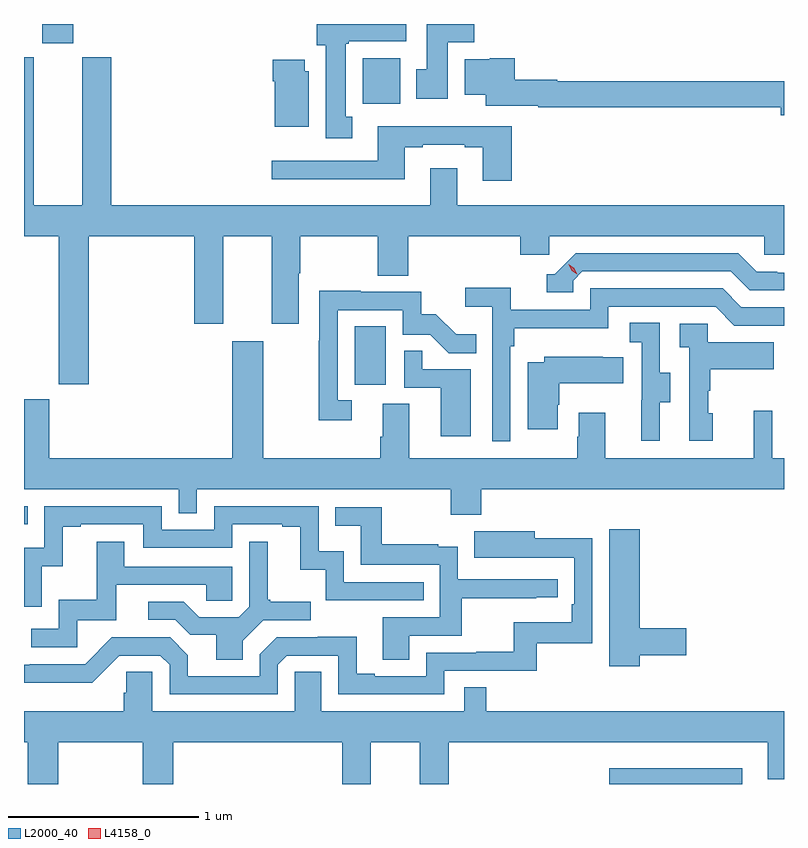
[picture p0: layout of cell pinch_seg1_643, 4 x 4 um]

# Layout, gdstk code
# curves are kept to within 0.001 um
import gdstk
lib = gdstk.Library(unit=1e-6, precision=1e-09)
def R(c, l, rs):  # rectangles x0, y0, x1, y1
    for r in rs: c.add(gdstk.rectangle(r[:2], r[2:], *l))
def P(c, l, *ps):  # polygons
    for p in ps: c.add(gdstk.Polygon(p, *l))
L2000_40 = (2000, 40)
L4158_0 = (4158, 0)

pinch_seg1_643 = lib.new_cell('pinch_seg1_643')
R(pinch_seg1_643, L2000_40, [(1083.519,514.217,1084.219,514.3), (1080.44,515.583,1080.461,515.679), (1082.18,516.318,1082.344,516.625), (1082.222,517.796,1082.419,518.038), (1080.536,518.115,1080.7,518.217)])
P(pinch_seg1_643, L2000_40, [(1082.671,518.12),(1082.81,518.12),(1082.81,518.217),(1082.561,518.217),(1082.561,517.98),(1082.504,517.98),(1082.504,517.824),(1082.671,517.824)],
  [(1082.167,517.73),(1082.134,517.73),(1082.134,518.113),(1082.148,518.113),(1082.148,518.126),(1082.452,518.126),(1082.452,518.217),(1081.982,518.217),(1081.982,518.106),(1082.027,518.106),(1082.027,517.617),(1082.167,517.617)],
  [(1080.782,517.1),(1081.337,517.1),(1081.337,516.639),(1081.489,516.639),(1081.489,517.1),(1081.745,517.1),(1081.745,516.639),(1081.885,516.639),(1081.885,516.904),(1081.893,516.904),(1081.893,517.1),(1082.302,517.1),(1082.302,516.892),(1082.462,516.892),(1082.462,517.1),(1083.053,517.1),(1083.053,517.002),(1083.204,517.002),(1083.204,517.1),(1084.335,517.1),(1084.335,517.002),(1084.44,517.002),(1084.44,517.264),(1082.719,517.264),(1082.719,517.459),(1082.579,517.459),(1082.579,517.264),(1080.899,517.264),(1080.899,518.043),(1080.746,518.043),(1080.746,517.264),(1080.49,517.264),(1080.49,518.043),(1080.44,518.043),(1080.44,517.1),(1080.622,517.1),(1080.622,516.321),(1080.782,516.321)],
  [(1084.44,517.916),(1083.246,517.916),(1083.246,517.924),(1083.023,517.924),(1083.023,518.038),(1082.892,518.038),(1082.892,518.032),(1082.759,518.032),(1082.759,517.844),(1082.87,517.844),(1082.87,517.787),(1083.146,517.787),(1083.146,517.78),(1084.424,517.78),(1084.424,517.738),(1084.44,517.738)],
  [(1081.939,517.968),(1081.918,517.968),(1081.918,518.029),(1081.748,518.029),(1081.748,517.916),(1081.76,517.916),(1081.76,517.676),(1081.939,517.676)],
  [(1083.008,517.678),(1082.303,517.678),(1082.303,517.497),(1081.743,517.497),(1081.743,517.4),(1082.443,517.4),(1082.443,517.569),(1082.539,517.569),(1082.539,517.581),(1082.759,517.581),(1082.759,517.569),(1082.855,517.569),(1082.855,517.392),(1083.008,517.392)],
  [(1083.33,516.867),(1083.378,516.915),(1084.161,516.915),(1084.26,516.816),(1084.44,516.816),(1084.44,516.909),(1084.404,516.909),(1084.404,516.912),(1084.297,516.912),(1084.198,517.011),(1083.345,517.011),(1083.234,516.9),(1083.191,516.9),(1083.191,516.804),(1083.33,516.804)],
  [(1083,516.521),(1083.02,516.521),(1083.02,516.617),(1083.516,516.617),(1083.516,516.729),(1084.08,516.729),(1084.179,516.63),(1084.44,516.63),(1084.44,516.726),(1084.216,516.726),(1084.117,516.825),(1083.42,516.825),(1083.42,516.714),(1083.002,516.714),(1083.002,516.83),(1082.763,516.83),(1082.763,516.728),(1082.904,516.728),(1082.904,516.02),(1083,516.02)],
  [(1082.164,516.237),(1082.091,516.237),(1082.091,516.711),(1082.433,516.711),(1082.433,516.582),(1082.577,516.582),(1082.675,516.484),(1082.819,516.484),(1082.819,516.583),(1082.715,516.583),(1082.608,516.69),(1082.532,516.69),(1082.532,516.807),(1082.213,516.807),(1082.213,516.812),(1081.995,516.812),(1081.995,516.551),(1081.99,516.551),(1081.99,516.132),(1082.164,516.132)],
  [(1083.787,516.226),(1083.841,516.226),(1083.841,516.381),(1083.786,516.381),(1083.786,516.644),(1083.627,516.644),(1083.627,516.541),(1083.69,516.541),(1083.69,516.237),(1083.689,516.237),(1083.689,516.024),(1083.787,516.024)],
  [(1084.066,516.168),(1084.041,516.168),(1084.041,516.287),(1084.051,516.287),(1084.051,516.401),(1084.385,516.401),(1084.385,516.541),(1084.038,516.541),(1084.038,516.639),(1083.891,516.639),(1083.891,516.515),(1083.942,516.515),(1083.942,516.024),(1084.066,516.024)],
  [(1082.846,515.768),(1084.44,515.768),(1084.44,515.932),(1084.377,515.932),(1084.377,516.181),(1084.28,516.181),(1084.28,515.932),(1083.499,515.932),(1083.499,516.172),(1083.359,516.172),(1083.359,516.044),(1083.352,516.044),(1083.352,515.932),(1082.467,515.932),(1082.467,516.218),(1082.327,516.218),(1082.327,516.044),(1082.315,516.044),(1082.315,515.932),(1081.699,515.932),(1081.699,516.547),(1081.535,516.547),(1081.535,515.932),(1080.574,515.932),(1080.574,516.241),(1080.44,516.241),(1080.44,515.768),(1081.254,515.768),(1081.254,515.641),(1081.35,515.641),(1081.35,515.768),(1082.686,515.768),(1082.686,515.633),(1082.846,515.633)],
  [(1082.791,516.399),(1082.537,516.399),(1082.537,516.497),(1082.442,516.497),(1082.442,516.303),(1082.633,516.303),(1082.633,516.048),(1082.791,516.048)],
  [(1083.25,516.213),(1083.258,516.213),(1083.258,516.326),(1083.593,516.326),(1083.593,516.463),(1083.485,516.463),(1083.485,516.466),(1083.179,516.466),(1083.179,516.436),(1083.092,516.436),(1083.092,516.084),(1083.25,516.084)],
  [(1080.534,515.363),(1080.644,515.363),(1080.644,515.571),(1080.739,515.571),(1080.739,515.583),(1081.068,515.583),(1081.068,515.46),(1081.536,515.46),(1081.536,515.583),(1081.799,515.583),(1081.799,515.571),(1081.895,515.571),(1081.895,515.345),(1082.028,515.345),(1082.028,515.184),(1082.543,515.184),(1082.543,515.28),(1082.124,515.28),(1082.124,515.443),(1081.992,515.443),(1081.992,515.679),(1081.44,515.679),(1081.44,515.556),(1081.164,515.556),(1081.164,515.679),(1080.546,515.679),(1080.546,515.46),(1080.44,515.46),(1080.44,515.151),(1080.534,515.151)],
  [(1082.467,514.998),(1082.744,514.998),(1082.744,515.194),(1083.137,515.194),(1083.137,515.199),(1083.25,515.199),(1083.25,515.295),(1082.724,515.295),(1082.724,515.467),(1082.621,515.467),(1082.621,515.479),(1082.323,515.479),(1082.323,515.673),(1082.077,515.673),(1082.077,515.576),(1082.212,515.576),(1082.212,515.37),(1082.628,515.37),(1082.628,515.094),(1082.327,515.094),(1082.327,514.87),(1082.467,514.87)],
  [(1083.682,514.894),(1083.925,514.894),(1083.925,515.036),(1083.682,515.036),(1083.682,515.557),(1083.521,515.557),(1083.521,514.836),(1083.682,514.836)],
  [(1081.776,514.845),(1081.824,514.893),(1082.094,514.893),(1082.094,514.689),(1082.652,514.689),(1082.652,514.812),(1083.139,514.812),(1083.139,514.959),(1083.432,514.959),(1083.432,515.51),(1083.127,515.51),(1083.127,515.548),(1082.809,515.548),(1082.809,515.408),(1083.336,515.409),(1083.336,515.164),(1083.323,515.164),(1083.323,515.068),(1083.018,515.068),(1083.018,514.913),(1082.821,514.913),(1082.821,514.908),(1082.556,514.908),(1082.556,514.785),(1082.287,514.785),(1082.287,514.798),(1082.191,514.798),(1082.191,514.991),(1081.986,514.991),(1081.986,514.989),(1081.77,514.989),(1081.68,514.899),(1081.68,514.785),(1081.303,514.785),(1081.303,514.895),(1081.209,514.989),(1080.903,514.989),(1080.762,514.848),(1080.469,514.848),(1080.469,514.845),(1080.44,514.845),(1080.44,514.749),(1080.564,514.749),(1080.564,514.751),(1080.8,514.751),(1080.942,514.893),(1081.158,514.893),(1081.206,514.845),(1081.206,514.689),(1081.776,514.689)],
  [(1080.72,515.079),(1080.925,515.079),(1080.925,515.265),(1081.399,515.265),(1081.399,515.181),(1081.536,515.181),(1081.536,515.361),(1080.967,515.361),(1080.967,515.491),(1080.823,515.491),(1080.823,515.188),(1080.624,515.188),(1080.624,515.034),(1080.477,515.034),(1080.477,514.938),(1080.72,514.938)],
  [(1081.591,514.972),(1081.698,515.079),(1081.948,515.079),(1081.948,515.176),(1081.735,515.176),(1081.735,515.188),(1081.723,515.188),(1081.723,515.491),(1081.626,515.491),(1081.626,515.151),(1081.569,515.094),(1081.363,515.094),(1081.282,515.175),(1081.095,515.175),(1081.095,515.082),(1081.236,515.082),(1081.316,515.002),(1081.451,515.002),(1081.451,514.87),(1081.591,514.87)],
  [(1080.621,514.436),(1081.066,514.436),(1081.066,514.217),(1081.226,514.217),(1081.226,514.436),(1082.114,514.436),(1082.114,514.217),(1082.266,514.217),(1082.266,514.436),(1082.522,514.436),(1082.522,514.217),(1082.675,514.217),(1082.675,514.436),(1084.355,514.436),(1084.355,514.242),(1084.44,514.242),(1084.44,514.6),(1082.873,514.6),(1082.873,514.727),(1082.757,514.727),(1082.757,514.6),(1082.005,514.6),(1082.005,514.808),(1081.866,514.808),(1081.866,514.6),(1081.116,514.6),(1081.116,514.808),(1080.979,514.808),(1080.979,514.698),(1080.965,514.698),(1080.965,514.6),(1080.44,514.6),(1080.44,514.436),(1080.461,514.436),(1080.461,514.217),(1080.621,514.217)])
P(pinch_seg1_643, L4158_0, [(1083.352,516.899),(1083.322,516.919),(1083.306,516.952),(1083.306,516.952),(1083.306,516.952),(1083.337,516.932),(1083.352,516.9),(1083.352,516.899)])

lib.write_gds('pinch_seg1_643.gds')
